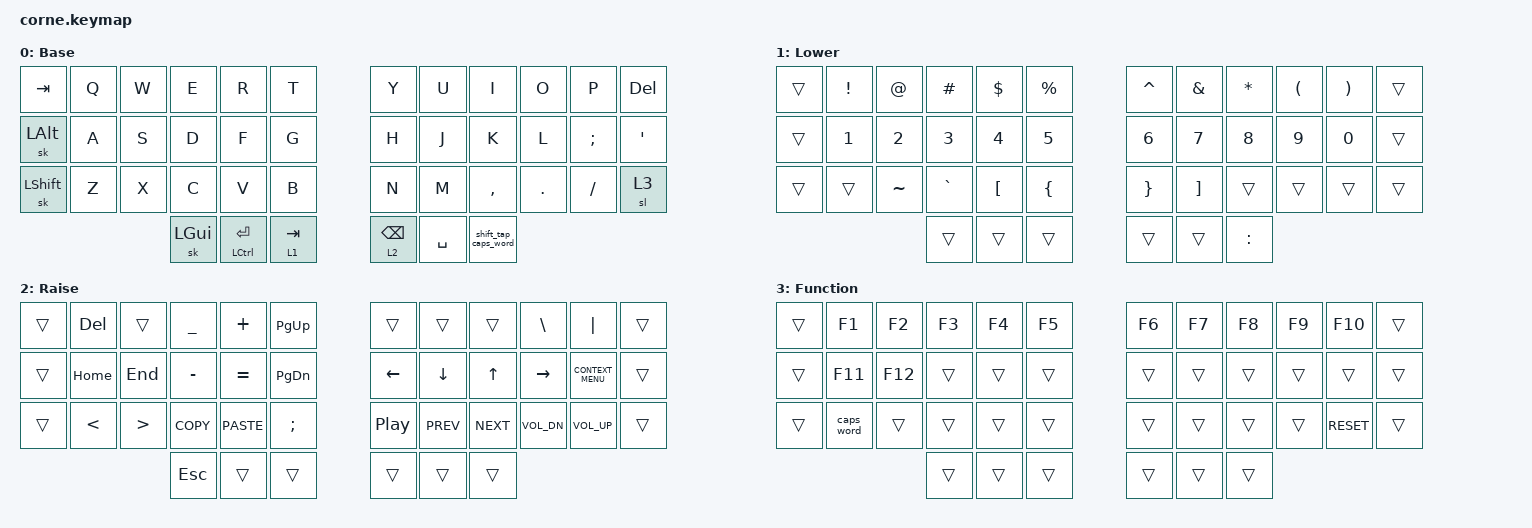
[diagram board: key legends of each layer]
/*
 * Copyright (c) 2020 The ZMK Contributors
 *
 * SPDX-License-Identifier: MIT
 */

#include <behaviors.dtsi>
#include <dt-bindings/zmk/keys.h>

/ {
    combos {
        compatible = "zmk,combos";

        jk {
            bindings = <&kp ESC>;
            key-positions = <19 20>;
        };
    };

    behaviors {
        shift_tap_caps_word: shift_tap_caps_word {
            compatible = "zmk,behavior-tap-dance";
            label = "SHIFT_TAP_CAPS_WORD";
            #binding-cells = <0>;
            bindings = <&sk RIGHT_SHIFT>, <&caps_word>;
        };
    };

    keymap {
        compatible = "zmk,keymap";

        default_layer {
            // -----------------------------------------------------------------------------------------
            // |  TAB |  Q  |  W  |  E  |  R  |  T  |   |  Y  |  U   |  I  |  O  |  P  | BKSP |
            // | CTRL |  A  |  S  |  D  |  F  |  G  |   |  H  |  J   |  K  |  L  |  ;  |  '   |
            // | SHFT |  Z  |  X  |  C  |  V  |  B  |   |  N  |  M   |  ,  |  .  |  /  | ESC  |
            //                    | GUI | LWR | SPC |   | ENT | RSE  | ALT |

            display-name = "Base";
            bindings = <
&kp TAB         &kp Q  &kp W  &kp E     &kp R                    &kp T        &kp Y            &kp U      &kp I                 &kp O    &kp P     &kp DEL
&sk LEFT_ALT    &kp A  &kp S  &kp D     &kp F                    &kp G        &kp H            &kp J      &kp K                 &kp L    &kp SEMI  &kp SQT
&sk LEFT_SHIFT  &kp Z  &kp X  &kp C     &kp V                    &kp B        &kp N            &kp M      &kp COMMA             &kp DOT  &kp FSLH  &sl 3
                              &sk LGUI  &mt LEFT_CONTROL RETURN  &lt 1 TAB    &lt 2 BACKSPACE  &kp SPACE  &shift_tap_caps_word
            >;
        };

        lower_layer {
            // -----------------------------------------------------------------------------------------
            // |  TAB |  1  |  2  |  3  |  4  |  5  |   |  6  |  7  |  8  |  9  |  0  | BKSP |
            // | BTCLR| BT1 | BT2 | BT3 | BT4 | BT5 |   | LFT | DWN |  UP | RGT |     |      |
            // | SHFT |     |     |     |     |     |   |     |     |     |     |     |      |
            //                    | GUI |     | SPC |   | ENT |     | ALT |

            display-name = "Lower";
            bindings = <
&trans  &kp EXCL      &kp AT        &kp POUND     &kp DOLLAR        &kp PERCENT       &kp CARET        &kp AMPERSAND      &kp ASTERISK  &kp LEFT_PARENTHESIS  &kp RIGHT_PARENTHESIS  &trans
&trans  &kp NUMBER_1  &kp NUMBER_2  &kp NUMBER_3  &kp NUMBER_4      &kp NUMBER_5      &kp NUMBER_6     &kp NUMBER_7       &kp NUMBER_8  &kp NUMBER_9          &kp NUMBER_0           &trans
&trans  &trans        &kp TILDE     &kp GRAVE     &kp LEFT_BRACKET  &kp LEFT_BRACE    &kp RIGHT_BRACE  &kp RIGHT_BRACKET  &trans        &trans                &trans                 &trans
                                    &trans        &trans            &trans            &trans           &trans             &kp COLON
            >;
        };

        raise_layer {
            // -----------------------------------------------------------------------------------------
            // |  TAB |  !  |  @  |  #  |  $  |  %  |   |  ^  |  &  |  *  |  (  |  )  | BKSP |
            // | CTRL |     |     |     |     |     |   |  -  |  =  |  [  |  ]  |  \  |  `   |
            // | SHFT |     |     |     |     |     |   |  _  |  +  |  {  |  }  | "|" |  ~   |
            //                    | GUI |     | SPC |   | ENT |     | ALT |

            display-name = "Raise";
            bindings = <
&trans  &kp DEL        &trans            &kp UNDERSCORE  &kp PLUS     &kp PG_UP        &trans            &trans      &trans      &kp BACKSLASH  &kp PIPE            &trans
&trans  &kp HOME       &kp END           &kp MINUS       &kp EQUAL    &kp PG_DN        &kp LEFT          &kp DOWN    &kp UP      &kp RIGHT      &kp K_CONTEXT_MENU  &trans
&trans  &kp LESS_THAN  &kp GREATER_THAN  &kp K_COPY      &kp K_PASTE  &kp SEMICOLON    &kp C_PLAY_PAUSE  &kp C_PREV  &kp C_NEXT  &kp C_VOL_DN   &kp C_VOL_UP        &trans
                                         &kp ESC         &trans       &trans           &trans            &trans      &trans
            >;
        };

        Function {
            bindings = <
&trans  &kp F1      &kp F2   &kp F3  &kp F4  &kp F5    &kp F6  &kp F7  &kp F8  &kp F9  &kp F10      &trans
&trans  &kp F11     &kp F12  &trans  &trans  &trans    &trans  &trans  &trans  &trans  &trans       &trans
&trans  &caps_word  &trans   &trans  &trans  &trans    &trans  &trans  &trans  &trans  &kp C_RESET  &trans
                             &trans  &trans  &trans    &trans  &trans  &trans
            >;
        };
    };
};
